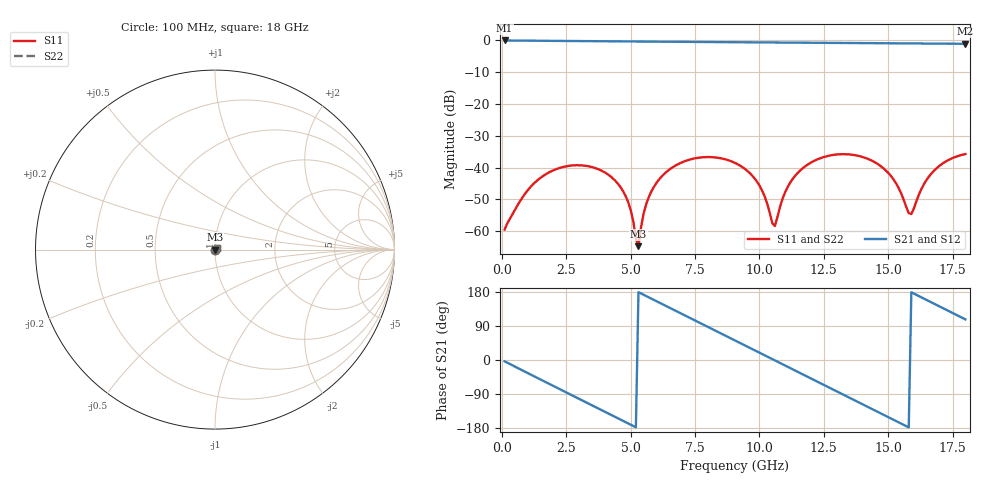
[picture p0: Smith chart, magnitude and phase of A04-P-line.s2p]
! yapnr rf coupon A: A04 P L16 (line, family P)
! stackup JLC04161H-7628, nominal parameters; reference planes 10 mm from each end; 50 ohm (renormalized from the line's Zc)
! model: 2D quasi-static RLGC (Djordjevic-Sarkar, Huray roughness, Wheeler loss); generated by python -m yapnr.rf.coupons expected
# GHz S DB R 50
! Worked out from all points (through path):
!   180 points, 100 MHz to 18 GHz, reference 50 ohm
!   highest |S21| = -0.02 dB at 100 MHz (marker M1); lowest = -1.1 dB at 18 GHz (marker M2)
!   group delay of S21, straight-line fit = 94.4 ps
!   lowest |S11| = -64.7 dB at 5.3 GHz (marker M3), VSWR 1.00, Z = 50 + j0.0367 ohm
!   |S11| at or under -10 dB: start of sweep to end of sweep
!   |S22| runs from -64.7 to -35.7 dB; largest |S21 - S12| = 0
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0.1  -59.48 31.3  -0.02 -3.5  -0.02 -3.5  -59.48 31.3
1.4  -43.80 50.2  -0.11 -48.2  -0.11 -48.2  -43.80 50.2
2.3  -39.95 25.2  -0.17 -78.9  -0.17 -78.9  -39.95 25.2
3.1  -39.29 0.2  -0.22 -106.2  -0.22 -106.2  -39.29 0.2
4  -41.54 -28.2  -0.28 -136.8  -0.28 -136.8  -41.54 -28.2
4.6  -46.10 -45.4  -0.31 -157.2  -0.31 -157.2  -46.10 -45.4
5  -53.37 -50.3  -0.33 -170.8  -0.33 -170.8  -53.37 -50.3
5.3  -64.69 39.0  -0.35 179.0  -0.35 179.0  -64.69 39.0
5.6  -51.49 83.9  -0.37 168.8  -0.37 168.8  -51.49 83.9
6.1  -43.73 74.2  -0.40 151.8  -0.40 151.8  -43.73 74.2
7.6  -36.92 27.6  -0.49 100.9  -0.49 100.9  -36.92 27.6
9.1  -38.71 -19.6  -0.57 50.0  -0.57 50.0  -38.71 -19.6
10  -45.63 -41.9  -0.62 19.4  -0.62 19.4  -45.63 -41.9
10.6  -58.35 29.0  -0.66 -1.0  -0.66 -1.0  -58.35 29.0
10.9  -49.71 74.6  -0.67 -11.2  -0.67 -11.2  -49.71 74.6
11.2  -44.63 74.3  -0.69 -21.4  -0.69 -21.4  -44.63 74.3
12.1  -37.96 51.3  -0.74 -52.0  -0.74 -52.0  -37.96 51.3
13.5  -35.85 8.4  -0.82 -99.6  -0.82 -99.6  -35.85 8.4
15.1  -42.55 -35.0  -0.91 -154.0  -0.91 -154.0  -42.55 -35.0
15.9  -54.57 27.1  -0.95 178.7  -0.95 178.7  -54.57 27.1
16.7  -41.67 66.5  -1.00 151.5  -1.00 151.5  -41.67 66.5
18  -35.73 31.7  -1.07 107.1  -1.07 107.1  -35.73 31.7
